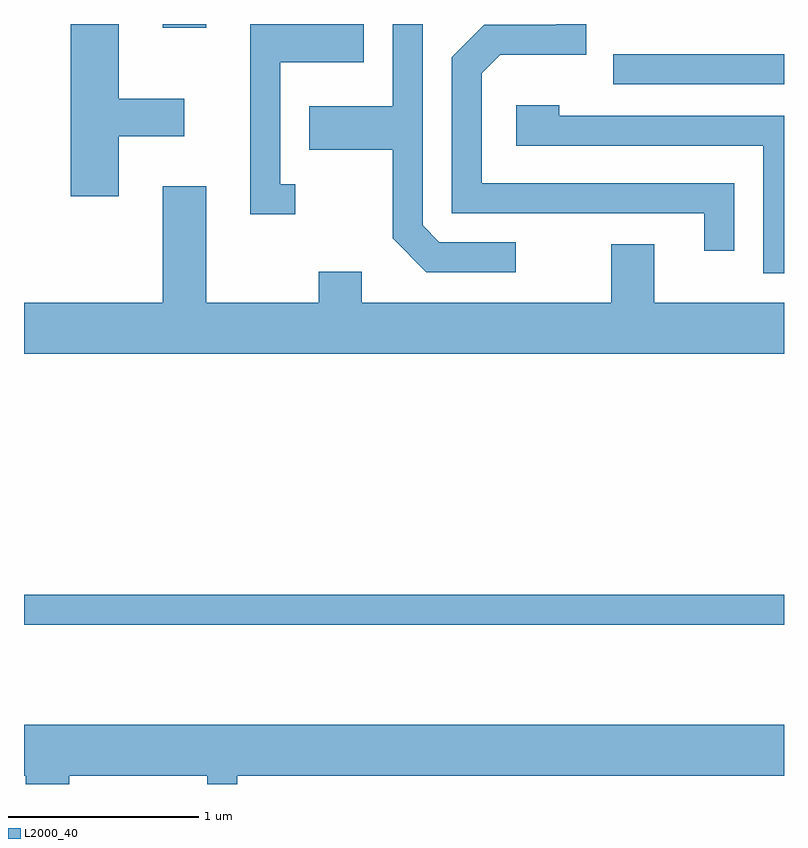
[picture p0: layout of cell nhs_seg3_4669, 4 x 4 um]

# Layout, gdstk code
import gdstk
lib = gdstk.Library(unit=1e-6, precision=1e-09)
def R(c, l, rs):  # rectangles x0, y0, x1, y1
    for r in rs: c.add(gdstk.rectangle(r[:2], r[2:], *l))
def P(c, l, *ps):  # polygons
    for p in ps: c.add(gdstk.Polygon(p, *l))
L2000_40 = (2000, 40)

nhs_seg3_4669 = lib.new_cell('nhs_seg3_4669')
R(nhs_seg3_4669, L2000_40, [(321.611,1206.731,325.611,1206.889), (324.713,1209.576,325.611,1209.734), (322.341,1209.871,322.569,1209.892)])
P(nhs_seg3_4669, L2000_40, [(322.109,1209.301),(322.454,1209.301),(322.454,1209.499),(322.109,1209.499),(322.109,1209.892),(321.856,1209.892),(321.856,1208.986),(322.109,1208.986)],
  [(323.038,1209.049),(322.959,1209.049),(322.959,1209.691),(323.399,1209.691),(323.399,1209.892),(322.801,1209.892),(322.801,1208.891),(323.038,1208.891)],
  [(325.349,1209.054),(324.019,1209.054),(324.019,1209.634),(324.117,1209.731),(324.569,1209.731),(324.569,1209.892),(324.411,1209.892),(324.411,1209.889),(324.034,1209.889),(323.861,1209.717),(323.861,1208.896),(325.191,1208.896),(325.191,1208.698),(325.349,1208.698)],
  [(324.198,1208.744),(323.797,1208.744),(323.709,1208.832),(323.709,1209.892),(323.551,1209.892),(323.551,1209.459),(323.111,1209.459),(323.111,1209.231),(323.551,1209.231),(323.551,1208.764),(323.729,1208.586),(324.198,1208.586)],
  [(325.611,1209.409),(324.429,1209.409),(324.429,1209.464),(324.201,1209.464),(324.201,1209.251),(325.501,1209.251),(325.501,1208.581),(325.611,1208.581)],
  [(325.611,1208.424),(324.929,1208.424),(324.929,1208.734),(324.701,1208.734),(324.701,1208.424),(323.389,1208.424),(323.389,1208.589),(323.161,1208.589),(323.161,1208.424),(322.569,1208.424),(322.569,1209.039),(322.341,1209.039),(322.341,1208.424),(321.611,1208.424),(321.611,1208.156),(325.611,1208.156)],
  [(321.849,1205.936),(322.576,1205.936),(322.576,1205.892),(322.734,1205.892),(322.734,1205.936),(325.611,1205.936),(325.611,1206.204),(321.611,1206.204),(321.611,1205.936),(321.621,1205.936),(321.621,1205.892),(321.849,1205.892)])

lib.write_gds('nhs_seg3_4669.gds')
